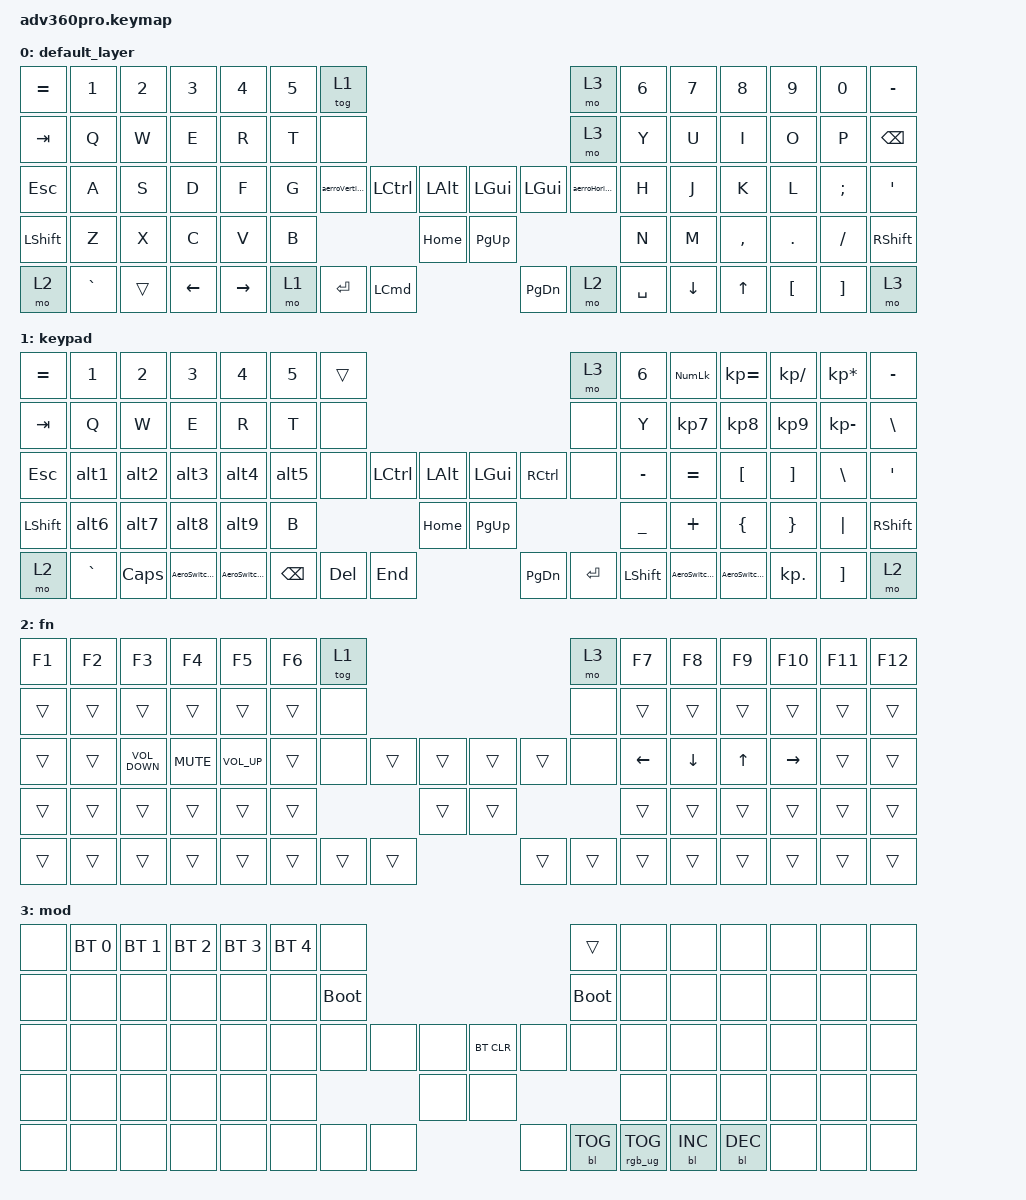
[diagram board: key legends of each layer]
#include <behaviors.dtsi>
#include <dt-bindings/zmk/backlight.h>
#include <dt-bindings/zmk/bt.h>
#include <dt-bindings/zmk/keys.h>
#include <dt-bindings/zmk/rgb.h>

/ {
    combos {
        compatible = "zmk,combos";

        alt {
            bindings = <&kp LEFT_ALT>;
            key-positions = <16 17>;
        };

        shift {
            bindings = <&kp LEFT_SHIFT>;
            key-positions = <66 69>;
        };

        copy {
            bindings = <&kp LG(C)>;
            key-positions = <49 50>;
        };

        paste {
            bindings = <&kp LG(V)>;
            key-positions = <50 51>;
        };

        layer1 {
            bindings = <&mo 2>;
            key-positions = <65 70>;
        };
    };

    macros {
        alt1: alt1 {
            compatible = "zmk,behavior-macro";
            #binding-cells = <0>;
            bindings =
                <&macro_press>,
                <&kp LEFT_ALT>,
                <&macro_tap>,
                <&kp NUMBER_1>,
                <&macro_release>,
                <&kp LEFT_ALT>;

            label = "ALT1";
        };

        alt2: alt2 {
            compatible = "zmk,behavior-macro";
            #binding-cells = <0>;
            bindings =
                <&macro_press>,
                <&kp LEFT_ALT>,
                <&macro_tap>,
                <&kp NUMBER_2>,
                <&macro_release>,
                <&kp LEFT_ALT>;

            label = "ALT2";
        };

        alt3: alt3 {
            compatible = "zmk,behavior-macro";
            #binding-cells = <0>;
            bindings =
                <&macro_press>,
                <&kp LEFT_ALT>,
                <&macro_tap>,
                <&kp NUMBER_3>,
                <&macro_release>,
                <&kp LEFT_ALT>;

            label = "ALT3";
        };

        alt4: alt4 {
            compatible = "zmk,behavior-macro";
            #binding-cells = <0>;
            bindings =
                <&macro_press>,
                <&kp LEFT_ALT>,
                <&macro_tap>,
                <&kp NUMBER_4>,
                <&macro_release>,
                <&kp LEFT_ALT>;

            label = "ALT4";
        };

        alt5: alt5 {
            compatible = "zmk,behavior-macro";
            #binding-cells = <0>;
            bindings =
                <&macro_press>,
                <&kp LEFT_ALT>,
                <&macro_tap>,
                <&kp NUMBER_5>,
                <&macro_release>,
                <&kp LEFT_ALT>;

            label = "ALT5";
        };

        alt6: alt6 {
            compatible = "zmk,behavior-macro";
            #binding-cells = <0>;
            bindings =
                <&macro_press>,
                <&kp LEFT_ALT>,
                <&macro_tap>,
                <&kp NUMBER_6>,
                <&macro_release>,
                <&kp LEFT_ALT>;

            label = "ALT6";
        };

        alt7: alt7 {
            compatible = "zmk,behavior-macro";
            #binding-cells = <0>;
            bindings =
                <&macro_press>,
                <&kp LEFT_ALT>,
                <&macro_tap>,
                <&kp NUMBER_7>,
                <&macro_release>,
                <&kp LEFT_ALT>;

            label = "ALT7";
        };

        alt8: alt8 {
            compatible = "zmk,behavior-macro";
            #binding-cells = <0>;
            bindings =
                <&macro_press>,
                <&kp LEFT_ALT>,
                <&macro_tap>,
                <&kp NUMBER_8>,
                <&macro_release>,
                <&kp LEFT_ALT>;

            label = "ALT8";
        };

        alt9: alt9 {
            compatible = "zmk,behavior-macro";
            #binding-cells = <0>;
            bindings =
                <&macro_press>,
                <&kp LEFT_ALT>,
                <&macro_tap>,
                <&kp NUMBER_9>,
                <&macro_release>,
                <&kp LEFT_ALT>;

            label = "ALT9";
        };

        AeroSwitchLeft: AeroSwitchLeft {
            compatible = "zmk,behavior-macro";
            #binding-cells = <0>;
            bindings =
                <&macro_press>,
                <&kp LEFT_ALT>,
                <&macro_tap>,
                <&kp H>,
                <&macro_release>,
                <&kp LEFT_ALT>;

            label = "AEROSWITCHLEFT";
        };

        AeroSwitchRight: AeroSwitchRight {
            compatible = "zmk,behavior-macro";
            #binding-cells = <0>;
            bindings =
                <&macro_press>,
                <&kp LEFT_ALT>,
                <&macro_tap>,
                <&kp L>,
                <&macro_release>,
                <&kp LEFT_ALT>;

            label = "AEROSWITCHRIGHT";
        };

        AeroSwitchUp: AeroSwitchUp {
            compatible = "zmk,behavior-macro";
            #binding-cells = <0>;
            bindings =
                <&macro_press>,
                <&kp LEFT_ALT>,
                <&macro_tap>,
                <&kp J>,
                <&macro_release>,
                <&kp LEFT_ALT>;

            label = "AEROSWITCHUP";
        };

        AeroSwitchDown: AeroSwitchDown {
            compatible = "zmk,behavior-macro";
            #binding-cells = <0>;
            bindings =
                <&macro_press>,
                <&kp LEFT_ALT>,
                <&macro_tap>,
                <&kp K>,
                <&macro_release>,
                <&kp LEFT_ALT>;

            label = "AEROSWITCHDOWN";
        };

        aerroVerticle: aerroVerticle {
            compatible = "zmk,behavior-macro";
            #binding-cells = <0>;
            bindings =
                <&macro_press>,
                <&kp LEFT_ALT>,
                <&macro_tap>,
                <&kp SLASH>,
                <&macro_release>,
                <&kp LEFT_ALT>;

            label = "AERROVERTICLE";
        };

        aerroHorizontal: aerroHorizontal {
            compatible = "zmk,behavior-macro";
            #binding-cells = <0>;
            bindings =
                <&macro_press>,
                <&kp LEFT_ALT>,
                <&macro_tap>,
                <&kp COMMA>,
                <&macro_release>,
                <&kp LEFT_ALT>;

            label = "AERROHORIZONTAL";
        };
    };

    behaviors {
        hrm_shift: hrm_shift {
            compatible = "zmk,behavior-hold-tap";
            label = "HRM_SHIFT";
            bindings = <&kp>, <&kp>;

            #binding-cells = <2>;
            tapping-term-ms = <100>;
            quick-tap-ms = <200>;
            flavor = "tap-unless-interrupted";
            hold-trigger-key-positions = <46>;
        };
    };

    keymap {
        compatible = "zmk,keymap";

        default_layer {
            bindings = <
&kp EQUAL  &kp N1     &kp N2  &kp N3    &kp N4     &kp N5  &tog 1                                                                                    &mo 3             &kp N6  &kp N7    &kp N8        &kp N9    &kp N0    &kp MINUS
&kp TAB    &kp Q      &kp W   &kp E     &kp R      &kp T   &none                                                                                     &mo 3             &kp Y   &kp U     &kp I         &kp O     &kp P     &kp BACKSPACE
&kp ESC    &kp A      &kp S   &kp D     &kp F      &kp G   &aerroVerticle         &kp LCTRL  &kp LALT            &kp LGUI   &kp LEFT_GUI             &aerroHorizontal  &kp H   &kp J     &kp K         &kp L     &kp SEMI  &kp SQT
&kp LSHFT  &kp Z      &kp X   &kp C     &kp V      &kp B                                     &kp HOME            &kp PG_UP                                             &kp N   &kp M     &kp COMMA     &kp DOT   &kp FSLH  &kp RSHFT
&mo 2      &kp GRAVE  &trans  &kp LEFT  &kp RIGHT                          &mo 1  &kp ENTER  &kp LEFT_COMMAND    &kp PG_DN  &mo 2         &kp SPACE                            &kp DOWN  &kp UP_ARROW  &kp LBKT  &kp RBKT  &mo 3
            >;
        };

        keypad {
            bindings = <
&kp EQUAL  &kp N1     &kp N2    &kp N3           &kp N4            &kp N5  &trans                                                                         &mo 3  &kp N6          &kp KP_NUM       &kp KP_EQUAL      &kp KP_DIVIDE      &kp KP_MULTIPLY  &kp MINUS
&kp TAB    &kp Q      &kp W     &kp E            &kp R             &kp T   &none                                                                          &none  &kp Y           &kp KP_N7        &kp KP_N8         &kp KP_N9          &kp KP_MINUS     &kp BSLH
&kp ESC    &alt1      &alt2     &alt3            &alt4             &alt5   &none             &kp LCTRL  &kp LALT    &kp LGUI   &kp RCTRL                  &none  &kp MINUS       &kp EQUAL        &kp LEFT_BRACKET  &kp RIGHT_BRACKET  &kp BACKSLASH    &kp SQT
&kp LSHFT  &alt6      &alt7     &alt8            &alt9             &kp B                                &kp HOME    &kp PG_UP                                    &kp UNDERSCORE  &kp PLUS         &kp LEFT_BRACE    &kp RIGHT_BRACE    &kp PIPE         &kp RSHFT
&mo 2      &kp GRAVE  &kp CAPS  &AeroSwitchLeft  &AeroSwitchRight                  &kp BSPC  &kp DEL    &kp END     &kp PG_DN  &kp ENTER  &kp LEFT_SHIFT                         &AeroSwitchDown  &AeroSwitchUp     &kp KP_DOT         &kp RBKT         &mo 2
            >;
        };

        fn {
            bindings = <
&kp F1  &kp F2  &kp F3             &kp F4      &kp F5           &kp F6  &tog 1                                                    &mo 3  &kp F7    &kp F8    &kp F9        &kp F10    &kp F11  &kp F12
&trans  &trans  &trans             &trans      &trans           &trans  &none                                                     &none  &trans    &trans    &trans        &trans     &trans   &trans
&trans  &trans  &kp C_VOLUME_DOWN  &kp C_MUTE  &kp C_VOLUME_UP  &trans  &none           &trans  &trans    &trans  &trans          &none  &kp LEFT  &kp DOWN  &kp UP_ARROW  &kp RIGHT  &trans   &trans
&trans  &trans  &trans             &trans      &trans           &trans                          &trans    &trans                         &trans    &trans    &trans        &trans     &trans   &trans
&trans  &trans  &trans             &trans      &trans                           &trans  &trans  &trans    &trans  &trans  &trans                   &trans    &trans        &trans     &trans   &trans
            >;
        };

        mod {
            bindings = <
&none  &bt BT_SEL 0  &bt BT_SEL 1  &bt BT_SEL 2  &bt BT_SEL 3  &bt BT_SEL 4  &none                                                                        &trans       &none  &none       &none       &none  &none  &none
&none  &none         &none         &none         &none         &none         &bootloader                                                                  &bootloader  &none  &none       &none       &none  &none  &none
&none  &none         &none         &none         &none         &none         &none               &none  &none    &bt BT_CLR  &none                        &none        &none  &none       &none       &none  &none  &none
&none  &none         &none         &none         &none         &none                                    &none    &none                                                 &none  &none       &none       &none  &none  &none
&none  &none         &none         &none         &none                                    &none  &none  &none    &none       &bl BL_TOG  &rgb_ug RGB_TOG                      &bl BL_INC  &bl BL_DEC  &none  &none  &none
            >;
        };
    };
};
